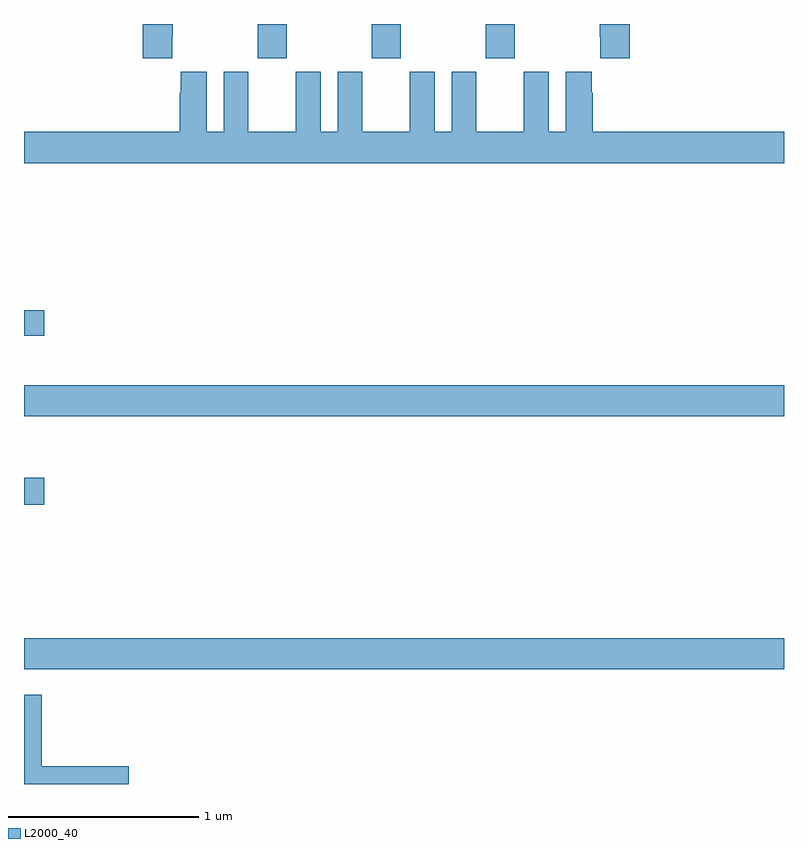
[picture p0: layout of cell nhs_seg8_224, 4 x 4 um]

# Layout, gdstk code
import gdstk
lib = gdstk.Library(unit=1e-6, precision=1e-09)
def R(c, l, rs):  # rectangles x0, y0, x1, y1
    for r in rs: c.add(gdstk.rectangle(r[:2], r[2:], *l))
def A(c, l, x, y, w, h, nx, ny, dx, dy):  # array of equal rectangles
    R(c, l, [(x+i*dx, y+j*dy, x+i*dx+w, y+j*dy+h) for i in range(nx) for j in range(ny)])
def P(c, l, *ps):  # polygons
    for p in ps: c.add(gdstk.Polygon(p, *l))
L2000_40 = (2000, 40)

nhs_seg8_224 = lib.new_cell('nhs_seg8_224')
A(nhs_seg8_224, L2000_40, 126.229, 1115.721, 0.155, 0.179, 3, 1, 0.6, 0)
R(nhs_seg8_224, L2000_40, [(125,1112.504,129,1112.668), (125,1113.371,125.107,1113.513), (125,1113.836,129,1114), (125,1114.259,125.107,1114.394)])
P(nhs_seg8_224, L2000_40, [(128.189,1115.9),(128.029,1115.9),(128.029,1115.833),(128.033,1115.833),(128.033,1115.721),(128.189,1115.721)],
  [(125.779,1115.833),(125.784,1115.833),(125.784,1115.9),(125.624,1115.9),(125.624,1115.721),(125.779,1115.721)],
  [(129,1115.332),(127.994,1115.332),(127.994,1115.537),(127.987,1115.537),(127.987,1115.65),(127.85,1115.65),(127.85,1115.332),(127.762,1115.332),(127.762,1115.65),(127.631,1115.65),(127.631,1115.332),(127.381,1115.332),(127.381,1115.65),(127.25,1115.65),(127.25,1115.332),(127.162,1115.332),(127.162,1115.65),(127.031,1115.65),(127.031,1115.332),(126.781,1115.332),(126.781,1115.65),(126.65,1115.65),(126.65,1115.332),(126.562,1115.332),(126.562,1115.65),(126.431,1115.65),(126.431,1115.332),(126.181,1115.332),(126.181,1115.65),(126.05,1115.65),(126.05,1115.332),(125.962,1115.332),(125.962,1115.65),(125.825,1115.65),(125.825,1115.537),(125.819,1115.537),(125.819,1115.332),(125,1115.332),(125,1115.168),(129,1115.168)],
  [(125.551,1111.994),(125.093,1111.994),(125.093,1112.371),(125,1112.371),(125,1111.9),(125.551,1111.9)])

lib.write_gds('nhs_seg8_224.gds')
